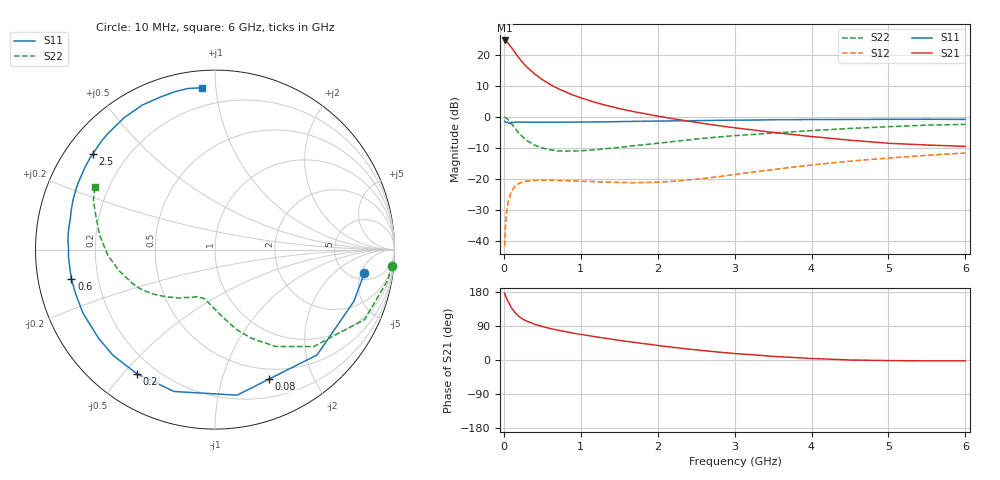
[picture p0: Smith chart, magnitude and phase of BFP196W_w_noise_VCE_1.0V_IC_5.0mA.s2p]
! Infineon Technologies  Discrete & RF Semiconductors
! BFP196W
! VCE =  1.0 V,  IC =  5.0 mA
! Common Emitter S-Parameters:  Jan 2017
# GHz  S  MA  R  50
!  f  S11  S21  S12  S22
! GHz  MAG  ANG  MAG  ANG  MAG  ANG  MAG  ANG
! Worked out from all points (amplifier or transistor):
!   77 points, 10 MHz to 6 GHz, reference 50 ohm
!   highest |S21| = 24.6 dB at 10 MHz (marker M1)
!   |S21| within 3 dB of that: start of sweep to 119.4 MHz
!   unconditionally stable (mu >= 1): 1.518 GHz to 3.477 GHz
!   at 130 MHz: K = 0.10, MSG = 22.1 dB, |S12| = -23.0 dB
!   at 2.2 GHz: K = 1.18, MAG = 7.6 dB, |S12| = -20.9 dB
!   at 6 GHz: K = 1.00, MSG = 1.1 dB, |S12| = -11.7 dB
!   lowest NFmin = 0.90 dB at 450 MHz
!   S11 on the Smith chart (normalised r, x): 10 MHz: 6.43, -5.78; 80 MHz: 0.39, -1.43; 200 MHz: 0.13, -0.55; 600 MHz: 0.10, -0.10; 2.5 GHz: 0.08, +0.34; 6 GHz: 0.09, +0.92
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0.01  0.8424 -8.9  17.06 176.2  0.0081 88.6  0.9901 -5.2
0.02  0.8259 -20.4  16.81 170.0  0.0161 80.4  0.9763 -10.3
0.05  0.8171 -45.9  15.71 156.1  0.0387 67.1  0.92 -25.1
0.08  0.7817 -67.3  13.93 145.5  0.0528 55.1  0.8186 -35.9
0.1  0.8203 -81.4  13.06 137.0  0.063 50.2  0.7706 -44.5
0.15  0.8227 -106.1  10.69 124.0  0.0773 38.4  0.6362 -58.0
0.2  0.8174 -122.1  8.773 114.5  0.0841 30.8  0.5346 -67.6
0.25  0.8185 -134.0  7.389 107.5  0.0891 25.6  0.466 -74.4
0.3  0.8155 -142.6  6.324 102.3  0.091 21.9  0.4107 -79.7
0.4  0.8165 -154.3  4.906 94.2  0.0933 17.0  0.3474 -87.7
0.5  0.8145 -162.3  3.972 88.3  0.0944 14.5  0.3126 -93.6
0.6  0.8167 -168.3  3.338 83.2  0.0945 12.8  0.2922 -98.4
0.7  0.8154 -172.9  2.867 78.9  0.093 11.6  0.2801 -101.8
0.8  0.8169 -177.1  2.519 74.8  0.0924 11.2  0.2786 -104.8
1.1  0.823 173.3  1.842 64.3  0.0901 11.5  0.2868 -113.2
1.5  0.8329 163.2  1.356 52.0  0.0867 15.4  0.3182 -123.0
2.1  0.8529 149.8  0.974 36.0  0.089 26.8  0.3843 -137.3
2.5  0.8649 141.9  0.811 26.8  0.0978 34.3  0.435 -146.4
3.1  0.8808 131.1  0.64 15.7  0.1211 40.5  0.5036 -159.5
4.1  0.9008 115.3  0.466 3.2  0.1708 40.3  0.6064 -179.1
5.1  0.9076 103.5  0.367 -1.7  0.2193 33.6  0.6973 162.9
6  0.9044 94.6  0.332 -2.2  0.2593 26.1  0.7534 152.3
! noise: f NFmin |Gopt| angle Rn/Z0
0.45  0.9  0.44  123  0.09
0.9  1.32  0.6  159  0.06
1.9  2.72  0.75  -161  0.11
2.4  3.29  0.8  -151  0.28
